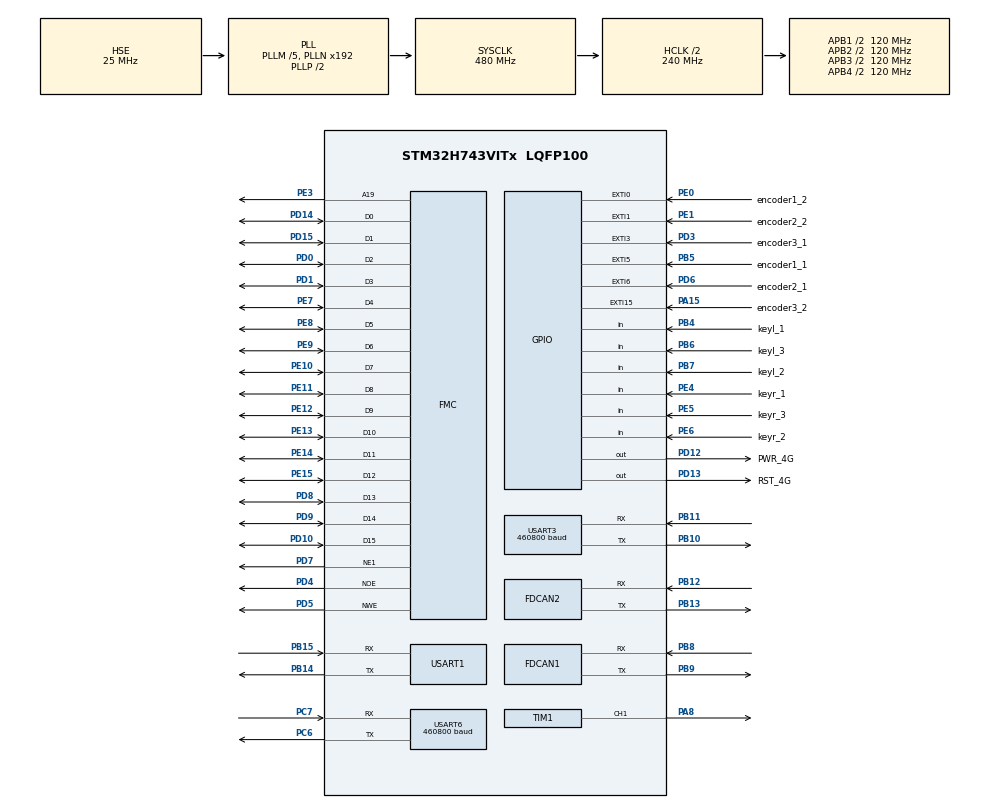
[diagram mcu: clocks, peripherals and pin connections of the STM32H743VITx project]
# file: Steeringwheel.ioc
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CORTEX_M7.AccessPermission_S-Cortex_Memory_Protection_Unit_Region1_Settings_S=MPU_REGION_FULL_ACCESS
CORTEX_M7.AccessPermission_Spec=MPU_REGION_FULL_ACCESS
CORTEX_M7.BaseAddress_S-Cortex_Memory_Protection_Unit_Region1_Settings_S=0x24000000
CORTEX_M7.BaseAddress_Spec=0x60000000
CORTEX_M7.CPU_DCache=Enabled
CORTEX_M7.CPU_ICache=Enabled
CORTEX_M7.DisableExec_Spec=MPU_INSTRUCTION_ACCESS_ENABLE
CORTEX_M7.Enable_S-Cortex_Memory_Protection_Unit_Region1_Settings_S=MPU_REGION_ENABLE
CORTEX_M7.Enable_Spec=MPU_REGION_ENABLE
CORTEX_M7.IsBufferable_Spec=MPU_ACCESS_BUFFERABLE
CORTEX_M7.IsCacheable_Spec=MPU_ACCESS_NOT_CACHEABLE
CORTEX_M7.IsShareable_Spec=MPU_ACCESS_NOT_SHAREABLE
CORTEX_M7.MPU_Control=MPU_PRIVILEGED_DEFAULT
CORTEX_M7.Size_S-Cortex_Memory_Protection_Unit_Region1_Settings_S=MPU_REGION_SIZE_512KB
CORTEX_M7.Size_Spec=MPU_REGION_SIZE_256MB
CORTEX_M7.SubRegionDisable_Spec=0x00
CORTEX_M7.TypeExtField_S-Cortex_Memory_Protection_Unit_Region1_Settings_S=MPU_TEX_LEVEL1
CORTEX_M7.TypeExtField_Spec=MPU_TEX_LEVEL0
CORTEX_M7.default_mode_Activation=1
Dma.Request0=TIM1_CH1
Dma.TIM1_CH1.0.Direction=DMA_MEMORY_TO_PERIPH
Dma.TIM1_CH1.0.EventEnable=DISABLE
Dma.TIM1_CH1.0.FIFOMode=DMA_FIFOMODE_DISABLE
Dma.TIM1_CH1.0.Instance=DMA1_Stream0
Dma.TIM1_CH1.0.MemDataAlignment=DMA_MDATAALIGN_HALFWORD
Dma.TIM1_CH1.0.MemInc=DMA_MINC_ENABLE
Dma.TIM1_CH1.0.Mode=DMA_NORMAL
Dma.TIM1_CH1.0.PeriphDataAlignment=DMA_PDATAALIGN_HALFWORD
Dma.TIM1_CH1.0.PeriphInc=DMA_PINC_DISABLE
Dma.TIM1_CH1.0.Polarity=HAL_DMAMUX_REQ_GEN_RISING
Dma.TIM1_CH1.0.Priority=DMA_PRIORITY_LOW
Dma.TIM1_CH1.0.RequestNumber=1
Dma.TIM1_CH1.0.SignalID=NONE
Dma.TIM1_CH1.0.SyncEnable=DISABLE
Dma.TIM1_CH1.0.SyncPolarity=HAL_DMAMUX_SYNC_NO_EVENT
Dma.TIM1_CH1.0.SyncRequestNumber=1
Dma.TIM1_CH1.0.SyncSignalID=NONE
FDCAN1.CalculateBaudRateNominal=250000
FDCAN1.CalculateTimeBitNominal=4000
FDCAN1.CalculateTimeQuantumNominal=800.0
FDCAN1.ExtFiltersNbr=1
FDCAN1.NominalPrescaler=20
FDCAN1.NominalTimeSeg1=2
FDCAN1.NominalTimeSeg2=2
FDCAN1.RxFifo0ElmtsNbr=32
FDCAN1.TxFifoQueueElmtsNbr=16
FDCAN2.CalculateBaudRateNominal=250000
FDCAN2.CalculateTimeBitNominal=4000
FDCAN2.CalculateTimeQuantumNominal=800.0
FDCAN2.ExtFiltersNbr=1
FDCAN2.MessageRAMOffset=0x214
FDCAN2.NominalPrescaler=20
FDCAN2.NominalTimeSeg1=2
FDCAN2.NominalTimeSeg2=2
FDCAN2.RxFifo0ElmtsNbr=32
FDCAN2.TxFifoQueueElmtsNbr=16
FMC.AddressSetupTime1=2
FMC.BusTurnAroundDuration1=1
FMC.DataSetupTime1=4
FMC.ExtendedAddressSetupTime1=2
FMC.ExtendedBusTurnAroundDuration1=1
FMC.ExtendedDataSetupTime1=4
FMC.ExtendedMode1=FMC_EXTENDED_MODE_ENABLE
FREERTOS.Events01=Upld_data_event,Dynamic,NULL
FREERTOS.Mutexes01=lvgl_mutex,Dynamic,NULL,Available
FREERTOS.Tasks01=lvgl_meter,8,512,entry_lvgl_meter,Default,NULL,Dynamic,NULL,NULL;lvgl,24,1024,entry_lvgl,Default,NULL,Dynamic,NULL,NULL;ws2812b,8,128,entry_ws2812b,Default,NULL,Dynamic,NULL,NULL
FREERTOS.configUSE_NEWLIB_REENTRANT=1
IWDG1.Prescaler=IWDG_PRESCALER_32
IWDG1.Reload=4095
Mcu.Family=STM32H7
Mcu.Name=STM32H743VITx
Mcu.Package=LQFP100
NVIC.DMA1_Stream0_IRQn=true\:5\:0\:false\:false\:true\:true\:false\:true\:true
NVIC.EXTI0_IRQn=true\:5\:0\:false\:false\:true\:true\:true\:true\:true
NVIC.EXTI15_10_IRQn=true\:5\:0\:false\:false\:true\:true\:true\:true\:true
NVIC.EXTI1_IRQn=true\:5\:0\:false\:false\:true\:true\:true\:true\:true
NVIC.EXTI3_IRQn=true\:5\:0\:false\:false\:true\:true\:true\:true\:true
NVIC.EXTI9_5_IRQn=true\:5\:0\:false\:false\:true\:true\:true\:true\:true
NVIC.FDCAN1_IT0_IRQn=true\:5\:0\:false\:false\:true\:true\:true\:true\:true
NVIC.FDCAN2_IT0_IRQn=true\:5\:0\:false\:false\:true\:true\:true\:true\:true
NVIC.PriorityGroup=NVIC_PRIORITYGROUP_4
NVIC.TIM2_IRQn=true\:15\:0\:false\:false\:true\:false\:false\:true\:true
NVIC.TimeBase=TIM2_IRQn
NVIC.TimeBaseIP=TIM2
PA13\ (JTMS/SWDIO).Mode=Serial_Wire
PA13\ (JTMS/SWDIO).Signal=DEBUG_JTMS-SWDIO
PA14\ (JTCK/SWCLK).Mode=Serial_Wire
PA14\ (JTCK/SWCLK).Signal=DEBUG_JTCK-SWCLK
PA15\ (JTDI).GPIO_Label=encoder3_2
PA15\ (JTDI).GPIO_ModeDefaultEXTI=GPIO_MODE_IT_FALLING
PA15\ (JTDI).GPIO_PuPd=GPIO_PULLUP
PA15\ (JTDI).Signal=GPXTI15
PA8.Signal=S_TIM1_CH1
PB10.Mode=Asynchronous
PB10.Signal=USART3_TX
PB11.Mode=Asynchronous
PB11.Signal=USART3_RX
PB12.Mode=FDCAN_Activate
PB12.Signal=FDCAN2_RX
PB13.Mode=FDCAN_Activate
PB13.Signal=FDCAN2_TX
PB14.Mode=Asynchronous
PB14.Signal=USART1_TX
PB15.Mode=Asynchronous
PB15.Signal=USART1_RX
PB4\ (NJTRST).GPIO_Label=keyl_1
PB4\ (NJTRST).GPIO_PuPd=GPIO_PULLUP
PB4\ (NJTRST).Signal=GPIO_Input
PB5.GPIO_Label=encoder1_1
PB5.GPIO_ModeDefaultEXTI=GPIO_MODE_IT_FALLING
PB5.GPIO_PuPd=GPIO_PULLUP
PB5.Signal=GPXTI5
PB6.GPIO_Label=keyl_3
PB6.GPIO_PuPd=GPIO_PULLUP
PB6.Signal=GPIO_Input
PB7.GPIO_Label=keyl_2
PB7.GPIO_PuPd=GPIO_PULLUP
PB7.Signal=GPIO_Input
PB8.Mode=FDCAN_Activate
PB8.Signal=FDCAN1_RX
PB9.Mode=FDCAN_Activate
PB9.Signal=FDCAN1_TX
PC14-OSC32_IN\ (OSC32_IN).Mode=LSE-External-Oscillator
PC14-OSC32_IN\ (OSC32_IN).Signal=RCC_OSC32_IN
PC15-OSC32_OUT\ (OSC32_OUT).Mode=LSE-External-Oscillator
PC15-OSC32_OUT\ (OSC32_OUT).Signal=RCC_OSC32_OUT
PC6.Mode=Asynchronous
PC6.Signal=USART6_TX
PC7.Mode=Asynchronous
PC7.Signal=USART6_RX
PD0.Signal=FMC_D2_DA2
PD1.Signal=FMC_D3_DA3
PD10.Signal=FMC_D15_DA15
PD12.GPIO_Label=PWR_4G
PD12.GPIO_Speed=GPIO_SPEED_FREQ_VERY_HIGH
PD12.PinState=GPIO_PIN_RESET
PD12.Signal=GPIO_Output
PD13.GPIO_Label=RST_4G
PD13.GPIO_Speed=GPIO_SPEED_FREQ_VERY_HIGH
PD13.Signal=GPIO_Output
PD14.Signal=FMC_D0_DA0
PD15.Signal=FMC_D1_DA1
PD3.GPIO_Label=encoder3_1
PD3.GPIO_ModeDefaultEXTI=GPIO_MODE_IT_FALLING
PD3.GPIO_PuPd=GPIO_PULLUP
PD3.Signal=GPXTI3
PD4.Signal=FMC_NOE
PD5.Signal=FMC_NWE
PD6.GPIO_Label=encoder2_1
PD6.GPIO_ModeDefaultEXTI=GPIO_MODE_IT_FALLING
PD6.GPIO_PuPd=GPIO_PULLUP
PD6.Signal=GPXTI6
PD7.Mode=NorPsramChipSelect1_1
PD7.Signal=FMC_NE1
PD8.Signal=FMC_D13_DA13
PD9.Signal=FMC_D14_DA14
PE0.GPIO_Label=encoder1_2
PE0.GPIO_ModeDefaultEXTI=GPIO_MODE_IT_FALLING
PE0.GPIO_PuPd=GPIO_PULLUP
PE0.Signal=GPXTI0
PE1.GPIO_Label=encoder2_2
PE1.GPIO_ModeDefaultEXTI=GPIO_MODE_IT_FALLING
PE1.GPIO_PuPd=GPIO_PULLUP
PE1.Signal=GPXTI1
PE10.Signal=FMC_D7_DA7
PE11.Signal=FMC_D8_DA8
PE12.Signal=FMC_D9_DA9
PE13.Signal=FMC_D10_DA10
PE14.Signal=FMC_D11_DA11
PE15.Signal=FMC_D12_DA12
PE3.Signal=FMC_A19
PE4.GPIO_Label=keyr_1
PE4.GPIO_PuPd=GPIO_PULLUP
PE4.Signal=GPIO_Input
PE5.GPIO_Label=keyr_3
PE5.GPIO_PuPd=GPIO_PULLUP
PE5.Signal=GPIO_Input
PE6.GPIO_Label=keyr_2
PE6.GPIO_PuPd=GPIO_PULLUP
PE6.Signal=GPIO_Input
PE7.Signal=FMC_D4_DA4
PE8.Signal=FMC_D5_DA5
PE9.Signal=FMC_D6_DA6
PH0-OSC_IN\ (PH0).Mode=HSE-External-Oscillator
PH0-OSC_IN\ (PH0).Signal=RCC_OSC_IN
PH1-OSC_OUT\ (PH1).Mode=HSE-External-Oscillator
PH1-OSC_OUT\ (PH1).Signal=RCC_OSC_OUT
ProjectManager.HeapSize=0x2000
ProjectManager.StackSize=0x800
ProjectManager.TargetToolchain=STM32CubeIDE
RCC.ADCFreq_Value=240000000
RCC.APB1Freq_Value=120000000
RCC.APB2Freq_Value=120000000
RCC.APB3Freq_Value=120000000
RCC.APB4Freq_Value=120000000
RCC.CortexFreq_Value=480000000
RCC.D1PPRE=RCC_APB3_DIV2
RCC.D2PPRE1=RCC_APB1_DIV2
RCC.D2PPRE2=RCC_APB2_DIV2
RCC.D3PPRE=RCC_APB4_DIV2
RCC.DIVM1=5
RCC.DIVM2=5
RCC.DIVM3=5
RCC.DIVN1=192
RCC.DIVN2=96
RCC.DIVN3=96
RCC.DIVQ1=6
RCC.DIVQ2=1
RCC.DIVQ3=1
RCC.DIVR1=6
RCC.FDCANCLockSelection=RCC_FDCANCLKSOURCE_HSE
RCC.HCLKFreq_Value=240000000
RCC.HPRE=RCC_HCLK_DIV2
RCC.PLLFRACN=0
RCC.PLLSourceVirtual=RCC_PLLSOURCE_HSE
RCC.SYSCLKFreq_VALUE=480000000
RCC.SYSCLKSource=RCC_SYSCLKSOURCE_PLLCLK
RCC.USBFreq_Value=160000000
SH.FMC_A19.0=FMC_A19,A19_1
SH.FMC_D0_DA0.0=FMC_D0,16b-d1
SH.FMC_D10_DA10.0=FMC_D10,16b-d1
SH.FMC_D11_DA11.0=FMC_D11,16b-d1
SH.FMC_D12_DA12.0=FMC_D12,16b-d1
SH.FMC_D13_DA13.0=FMC_D13,16b-d1
SH.FMC_D14_DA14.0=FMC_D14,16b-d1
SH.FMC_D15_DA15.0=FMC_D15,16b-d1
SH.FMC_D1_DA1.0=FMC_D1,16b-d1
SH.FMC_D2_DA2.0=FMC_D2,16b-d1
SH.FMC_D3_DA3.0=FMC_D3,16b-d1
SH.FMC_D4_DA4.0=FMC_D4,16b-d1
SH.FMC_D5_DA5.0=FMC_D5,16b-d1
SH.FMC_D6_DA6.0=FMC_D6,16b-d1
SH.FMC_D7_DA7.0=FMC_D7,16b-d1
SH.FMC_D8_DA8.0=FMC_D8,16b-d1
SH.FMC_D9_DA9.0=FMC_D9,16b-d1
SH.FMC_NOE.0=FMC_NOE,Lcd1
SH.FMC_NWE.0=FMC_NWE,Lcd1
SH.S_TIM1_CH1.0=TIM1_CH1,PWM Generation1 CH1
TIM1.Channel-PWM\ Generation1\ CH1=TIM_CHANNEL_1
TIM1.Period=299
TIM1.Prescaler=0
USART1.VirtualMode-Asynchronous=VM_ASYNC
USART3.BaudRate=460800
USART3.VirtualMode-Asynchronous=VM_ASYNC
USART6.BaudRate=460800
USART6.VirtualMode=VM_ASYNC
VP_FREERTOS_VS_CMSIS_V2.Mode=CMSIS_V2
VP_IWDG1_VS_IWDG.Mode=IWDG_Activate
VP_MEMORYMAP_VS_MEMORYMAP.Mode=CurAppReg
VP_SYS_VS_tim2.Mode=TIM2
VP_TIM1_VS_ClockSourceINT.Mode=Internal
board=custom

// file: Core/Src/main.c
/* USER CODE BEGIN Header */
/**
  ******************************************************************************
  * @file           : main.c
  * @brief          : Main program body
  ******************************************************************************
  * @attention
  *
  * Copyright (c) 2025 STMicroelectronics.
  * All rights reserved.
  *
  * This software is licensed under terms that can be found in the LICENSE file
  * in the root directory of this software component.
  * If no LICENSE file comes with this software, it is provided AS-IS.
  *
  ******************************************************************************
  */
/* USER CODE END Header */
#include "main.h"
#include "cmsis_os.h"
#include "dma.h"
#include "fdcan.h"
#include "iwdg.h"
#include "memorymap.h"
#include "tim.h"
#include "usart.h"
#include "gpio.h"
#include "fmc.h"

/* USER CODE BEGIN Includes */
#include "lvgl.h"
#include "lv_port_disp.h"
#include "ui.h"
/* USER CODE END Includes */

void SystemClock_Config(void);
static void MPU_Config(void);
void MX_FREERTOS_Init(void);

int main(void)
{

  /* MPU Configuration--------------------------------------------------------*/
  MPU_Config();

  /* Enable the CPU Cache */

  /* Enable I-Cache---------------------------------------------------------*/
  SCB_EnableICache();

  /* Enable D-Cache---------------------------------------------------------*/
  SCB_EnableDCache();

  /* MCU Configuration--------------------------------------------------------*/

  /* Reset of all peripherals, Initializes the Flash interface and the Systick. */
  HAL_Init();

  /* Configure the system clock */
  SystemClock_Config();

  /* Initialize all configured peripherals */
  MX_GPIO_Init();
  MX_DMA_Init();
  MX_TIM1_Init();
  MX_USART1_UART_Init();
  MX_USART3_UART_Init();
  MX_USART6_UART_Init();
  MX_FDCAN1_Init();
  MX_FDCAN2_Init();
  MX_FMC_Init();
  MX_IWDG1_Init();
  /* USER CODE BEGIN 2 */
  lv_init();
  lv_tick_set_cb(xTaskGetTickCount);
  lv_port_disp_init();
  ui_init();
  /* USER CODE END 2 */

  /* Init scheduler */
  osKernelInitialize();

  /* Call init function for freertos objects (in cmsis_os2.c) */
  MX_FREERTOS_Init();

  /* Start scheduler */
  osKernelStart();

  /* We should never get here as control is now taken by the scheduler */

  /* Infinite loop */
  while (1)
  {

  }
}

void SystemClock_Config(void)
{
  RCC_OscInitTypeDef RCC_OscInitStruct = {0};
  RCC_ClkInitTypeDef RCC_ClkInitStruct = {0};

  /** Supply configuration update enable
  */
  HAL_PWREx_ConfigSupply(PWR_LDO_SUPPLY);

  /** Configure the main internal regulator output voltage
  */
  __HAL_PWR_VOLTAGESCALING_CONFIG(PWR_REGULATOR_VOLTAGE_SCALE0);

  while(!__HAL_PWR_GET_FLAG(PWR_FLAG_VOSRDY)) {}

  /** Initializes the RCC Oscillators according to the specified parameters
  * in the RCC_OscInitTypeDef structure.
  */
  RCC_OscInitStruct.OscillatorType = RCC_OSCILLATORTYPE_LSI|RCC_OSCILLATORTYPE_HSE;
  RCC_OscInitStruct.HSEState = RCC_HSE_ON;
  RCC_OscInitStruct.LSIState = RCC_LSI_ON;
  RCC_OscInitStruct.PLL.PLLState = RCC_PLL_ON;
  RCC_OscInitStruct.PLL.PLLSource = RCC_PLLSOURCE_HSE;
  RCC_OscInitStruct.PLL.PLLM = 5;
  RCC_OscInitStruct.PLL.PLLN = 192;
  RCC_OscInitStruct.PLL.PLLP = 2;
  RCC_OscInitStruct.PLL.PLLQ = 6;
  RCC_OscInitStruct.PLL.PLLR = 6;
  RCC_OscInitStruct.PLL.PLLRGE = RCC_PLL1VCIRANGE_2;
  RCC_OscInitStruct.PLL.PLLVCOSEL = RCC_PLL1VCOWIDE;
  RCC_OscInitStruct.PLL.PLLFRACN = 0;
  if (HAL_RCC_OscConfig(&RCC_OscInitStruct) != HAL_OK)
  {
    Error_Handler();
  }

  /** Initializes the CPU, AHB and APB buses clocks
  */
  RCC_ClkInitStruct.ClockType = RCC_CLOCKTYPE_HCLK|RCC_CLOCKTYPE_SYSCLK
                              |RCC_CLOCKTYPE_PCLK1|RCC_CLOCKTYPE_PCLK2
                              |RCC_CLOCKTYPE_D3PCLK1|RCC_CLOCKTYPE_D1PCLK1;
  RCC_ClkInitStruct.SYSCLKSource = RCC_SYSCLKSOURCE_PLLCLK;
  RCC_ClkInitStruct.SYSCLKDivider = RCC_SYSCLK_DIV1;
  RCC_ClkInitStruct.AHBCLKDivider = RCC_HCLK_DIV2;
  RCC_ClkInitStruct.APB3CLKDivider = RCC_APB3_DIV2;
  RCC_ClkInitStruct.APB1CLKDivider = RCC_APB1_DIV2;
  RCC_ClkInitStruct.APB2CLKDivider = RCC_APB2_DIV2;
  RCC_ClkInitStruct.APB4CLKDivider = RCC_APB4_DIV2;

  if (HAL_RCC_ClockConfig(&RCC_ClkInitStruct, FLASH_LATENCY_4) != HAL_OK)
  {
    Error_Handler();
  }
}

 /* MPU Configuration */

void MPU_Config(void)
{
  MPU_Region_InitTypeDef MPU_InitStruct = {0};

  /* Disables the MPU */
  HAL_MPU_Disable();

  /** Initializes and configures the Region and the memory to be protected
  */
  MPU_InitStruct.Enable = MPU_REGION_ENABLE;
  MPU_InitStruct.Number = MPU_REGION_NUMBER0;
  MPU_InitStruct.BaseAddress = 0x60000000;
  MPU_InitStruct.Size = MPU_REGION_SIZE_256MB;
  MPU_InitStruct.SubRegionDisable = 0x00;
  MPU_InitStruct.TypeExtField = MPU_TEX_LEVEL0;
  MPU_InitStruct.AccessPermission = MPU_REGION_FULL_ACCESS;
  MPU_InitStruct.DisableExec = MPU_INSTRUCTION_ACCESS_ENABLE;
  MPU_InitStruct.IsShareable = MPU_ACCESS_NOT_SHAREABLE;
  MPU_InitStruct.IsCacheable = MPU_ACCESS_NOT_CACHEABLE;
  MPU_InitStruct.IsBufferable = MPU_ACCESS_BUFFERABLE;

  HAL_MPU_ConfigRegion(&MPU_InitStruct);

  /** Initializes and configures the Region and the memory to be protected
  */
  MPU_InitStruct.Number = MPU_REGION_NUMBER1;
  MPU_InitStruct.BaseAddress = 0x24000000;
  MPU_InitStruct.Size = MPU_REGION_SIZE_512KB;
  MPU_InitStruct.SubRegionDisable = 0x0;
  MPU_InitStruct.TypeExtField = MPU_TEX_LEVEL1;
  MPU_InitStruct.IsBufferable = MPU_ACCESS_NOT_BUFFERABLE;

  HAL_MPU_ConfigRegion(&MPU_InitStruct);
  /* Enables the MPU */
  HAL_MPU_Enable(MPU_PRIVILEGED_DEFAULT);

}

void HAL_TIM_PeriodElapsedCallback(TIM_HandleTypeDef *htim)
{
  if (htim->Instance == TIM2)
  {
    HAL_IncTick();
  }
}

void Error_Handler(void)
{
  __disable_irq();
  while (1)
  {
  }
}

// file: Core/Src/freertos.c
/* USER CODE BEGIN Header */
/**
  ******************************************************************************
  * File Name          : freertos.c
  * Description        : Code for freertos applications
  ******************************************************************************
  * @attention
  *
  * Copyright (c) 2025 STMicroelectronics.
  * All rights reserved.
  *
  * This software is licensed under terms that can be found in the LICENSE file
  * in the root directory of this software component.
  * If no LICENSE file comes with this software, it is provided AS-IS.
  *
  ******************************************************************************
  */
/* USER CODE END Header */

#include "FreeRTOS.h"
#include "task.h"
#include "main.h"
#include "cmsis_os.h"

/* USER CODE BEGIN Includes */
#include "lvgl.h"
#include "screens.h"
#include "SLM_App.h"
#include "app_can.h"
#include "app_indev.h"
#include "iwdg.h"
#include "string.h"
/* USER CODE END Includes */

/* Definitions for lvgl_meter */
osThreadId_t lvgl_meterHandle;
const osThreadAttr_t lvgl_meter_attributes = {
  .name = "lvgl_meter",
  .stack_size = 512 * 4,
  .priority = (osPriority_t) osPriorityLow,
};
/* Definitions for lvgl */
osThreadId_t lvglHandle;
const osThreadAttr_t lvgl_attributes = {
  .name = "lvgl",
  .stack_size = 1024 * 4,
  .priority = (osPriority_t) osPriorityNormal,
};
/* Definitions for ws2812b */
osThreadId_t ws2812bHandle;
const osThreadAttr_t ws2812b_attributes = {
  .name = "ws2812b",
  .stack_size = 128 * 4,
  .priority = (osPriority_t) osPriorityLow,
};
/* Definitions for lvgl_mutex */
osMutexId_t lvgl_mutexHandle;
const osMutexAttr_t lvgl_mutex_attributes = {
  .name = "lvgl_mutex"
};
/* Definitions for Upld_data_event */
osEventFlagsId_t Upld_data_eventHandle;
const osEventFlagsAttr_t Upld_data_event_attributes = {
  .name = "Upld_data_event"
};

void entry_lvgl_meter(void *argument);
void entry_lvgl(void *argument);
void entry_ws2812b(void *argument);

void MX_FREERTOS_Init(void); /* (MISRA C 2004 rule 8.1) */

void MX_FREERTOS_Init(void) {
  /* Create the mutex(es) */
  /* creation of lvgl_mutex */
  lvgl_mutexHandle = osMutexNew(&lvgl_mutex_attributes);

  /* Create the thread(s) */
  /* creation of lvgl_meter */
  lvgl_meterHandle = osThreadNew(entry_lvgl_meter, NULL, &lvgl_meter_attributes);

  /* creation of lvgl */
  lvglHandle = osThreadNew(entry_lvgl, NULL, &lvgl_attributes);

  /* creation of ws2812b */
  ws2812bHandle = osThreadNew(entry_ws2812b, NULL, &ws2812b_attributes);

  /* creation of Upld_data_event */
  Upld_data_eventHandle = osEventFlagsNew(&Upld_data_event_attributes);

}

void entry_lvgl_meter(void *argument)
{
  /* USER CODE BEGIN entry_lvgl_meter */
//  uint32_t r_event;
  static uint8_t saf_cir_ofl_blink = 0;
  racingCarData.BatVoltage = 480.4;
  /* Infinite loop */
  for(;;)
  {
//      r_event = osEventFlagsWait(Upld_data_eventHandle,GUI_UPDATE_EVENT,osFlagsWaitAll,osWaitForever);
//      if(r_event) {
          Key_Num_Click = key_scan_click();
          Key_Num_Press = key_scan_press();

          //安全回路检测
          if(racingCarData.safety_circuit_offline == 0) {
              if (saf_cir_ofl_blink<=10) {
                  lv_obj_clear_flag(objects.saf_cir_ofl_label, LV_OBJ_FLAG_HIDDEN);
                  saf_cir_ofl_blink++;
              }
              else if(saf_cir_ofl_blink<=15 && saf_cir_ofl_blink >10) {
                  lv_obj_add_flag(objects.saf_cir_ofl_label, LV_OBJ_FLAG_HIDDEN);
                  saf_cir_ofl_blink++;
              }
              else
                  saf_cir_ofl_blink = 0;
          }
          else
              lv_obj_add_flag(objects.saf_cir_ofl_label,LV_OBJ_FLAG_HIDDEN);

          //重要消息显示
          lv_obj_add_flag(objects.history_log_fail,LV_OBJ_FLAG_HIDDEN);
          if(racingCarData.l_mcu_ready == 0 || Key_Num_Press == 4) {
              history_log_appear_flag = 1;
              lv_label_set_text_fmt(objects.history_log_lready,"%1d",racingCarData.l_mcu_ready);
              lv_label_set_text_fmt(objects.history_log_lprecharge,"%1d", racingCarData.l_mcu_precharge_state);
              lv_label_set_text_fmt(objects.history_log_lwrong_code,"%3d",racingCarData.l_mcu_wrong_code);
          }
          if(racingCarData.r_mcu_ready == 0 || Key_Num_Press == 4) {
              history_log_appear_flag = 1;
              lv_label_set_text_fmt(objects.history_log_rready,"%1d",racingCarData.r_mcu_ready);
              lv_label_set_text_fmt(objects.history_log_rprecharge,"%1d", racingCarData.r_mcu_precharge_state);
              lv_label_set_text_fmt(objects.history_log_rwrong_code,"%3d",racingCarData.r_mcu_wrong_code);
          }
          if(racingCarData.l_mcu_selftest_state == 0 || Key_Num_Press == 4) {
              history_log_appear_flag = 1;
              lv_label_set_text_fmt(objects.history_log_rselftest,"%1d",racingCarData.r_mcu_selftest_state);

          }
          if(racingCarData.l_mcu_alert != 0 || Key_Num_Press == 4) {
              history_log_appear_flag = 1;
              lv_label_set_text_fmt(objects.history_log_ralert,"%1d",racingCarData.r_mcu_alert);
          }
          if(racingCarData.r_mcu_selftest_state == 0 || Key_Num_Press == 4) {
              history_log_appear_flag = 1;
              lv_label_set_text_fmt(objects.history_log_rselftest,"%1d",racingCarData.r_mcu_selftest_state);
          }
          if(racingCarData.r_mcu_alert != 0 || Key_Num_Press == 4) {
              history_log_appear_flag = 1;
              lv_label_set_text_fmt(objects.history_log_ralert,"%1d",racingCarData.r_mcu_alert);
          }

          lv_label_set_text_fmt(objects.history_log_batstate,"%1d",racingCarData.BatState);

          if(racingCarData.BatAlmLv != 0 || Key_Num_Press == 4) {
              history_log_appear_flag = 1;
              lv_label_set_text_fmt(objects.history_log_batalmlv,"%1d",racingCarData.BatAlmLv);
          }

          if(racingCarData.l_mcu_ready == 1 && racingCarData.r_mcu_ready == 1 && racingCarData.l_mcu_selftest_state == 1 && racingCarData.r_mcu_selftest_state == 1 && racingCarData.l_mcu_alert == 0 && racingCarData.r_mcu_alert == 0 && racingCarData.BatAlmLv == 0) {
              history_log_appear_flag = 0;
          }

          lv_label_set_text_fmt(objects.history_log_rpm_difference,"%4d",racingCarData.l_motor_rpm-racingCarData.r_motor_rpm);

          if(history_log_appear_flag == 1) lv_obj_clear_flag(objects.history_log_panel,LV_OBJ_FLAG_HIDDEN);
          else lv_obj_add_flag(objects.history_log_panel,LV_OBJ_FLAG_HIDDEN);

          if(Key_Num_Press == 4) lv_obj_clear_flag(objects.history_log_panel,LV_OBJ_FLAG_HIDDEN);
          else lv_obj_add_flag(objects.history_log_panel,LV_OBJ_FLAG_HIDDEN);

          lv_label_set_text_fmt(objects.speed,"%02d",racingCarData.FrontSpeed);
          lv_label_set_text_fmt(objects.lmot_rpm,"%02d",racingCarData.l_motor_rpm);
          lv_label_set_text_fmt(objects.rmot_rpm,"%02d",racingCarData.r_motor_rpm);
          lv_label_set_text_fmt(objects.mcu1_temp,"%02d",racingCarData.l_mcu_temp);
          lv_label_set_text_fmt(objects.mcu2_temp,"%02d",racingCarData.r_mcu_temp);
          lv_label_set_text_fmt(objects.motor2_temp,"%02d",racingCarData.l_motor_temp);
          lv_label_set_text_fmt(objects.motor1_temp,"%02d",racingCarData.r_motor_temp);
          lv_label_set_text_fmt(objects.mincellvolt,"%04d",racingCarData.MinCellVolt);

          lv_label_set_text_fmt(objects.bat_volt,"%03d",racingCarData.BatVoltage);

          lv_bar_set_value(objects.soc,racingCarData.BatSoc,LV_ANIM_OFF);

          if(racingCarData.gearMode == 0){
              lv_label_set_text(objects.gear, "N");
          }
          else if(racingCarData.gearMode == 1){
              lv_label_set_text(objects.gear, "AC");
          }
          else if(racingCarData.gearMode == 2){
              lv_label_set_text(objects.gear, "SK");
          }
          else if(racingCarData.gearMode == 3){
              lv_label_set_text(objects.gear,"AU");
          }
          else if(racingCarData.gearMode == 4){
              lv_label_set_text(objects.gear,"EF");
          }
//      }
//      osMutexRelease(lvgl_mutexHandle);
      osDelay(50);
  }
  /* USER CODE END entry_lvgl_meter */
}

void entry_lvgl(void *argument)
{
  /* USER CODE BEGIN entry_lvgl */
  /* Infinite loop */
  for(;;)
  {
      osMutexWait(lvgl_mutexHandle, osWaitForever);
      uint32_t time_till_next = lv_timer_handler();
      if(time_till_next == LV_NO_TIMER_READY) time_till_next = LV_DEF_REFR_PERIOD; /*try again soon because the other thread can make the timer ready*/
      HAL_IWDG_Refresh(&hiwdg1);
      osMutexRelease(lvgl_mutexHandle);
      osDelay(time_till_next); /* delay to avoid unnecessary polling */
  }
  /* USER CODE END entry_lvgl */
}

void entry_ws2812b(void *argument)
{
  /* USER CODE BEGIN entry_ws2812b */
    CanFilter_init();
    uint32_t r_event;
  /* Infinite loop */
  for(;;)
  {
      r_event = osEventFlagsWait(Upld_data_eventHandle,GUI_UPDATE_EVENT,osFlagsWaitAll,osWaitForever);
      if(r_event) {
          RPM_LED_Shine();
      }

      osDelay(50);
  }
  /* USER CODE END entry_ws2812b */
}
